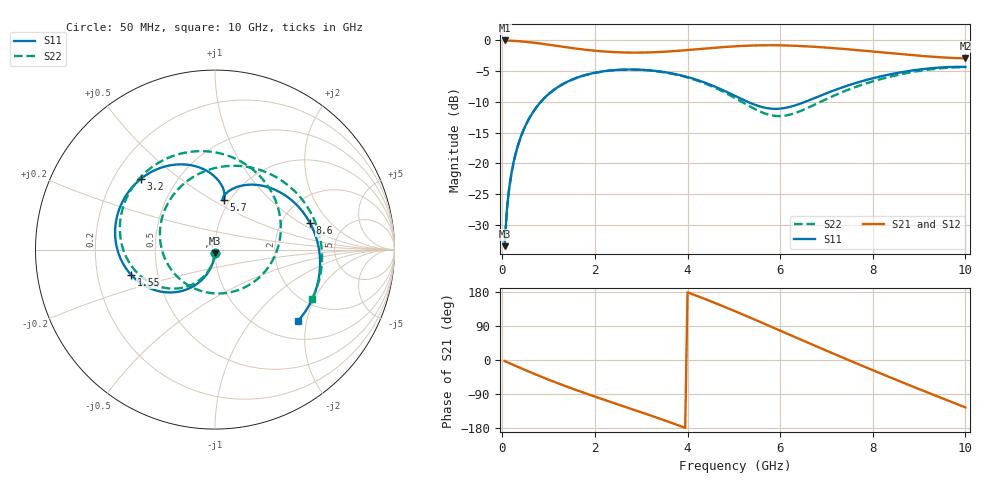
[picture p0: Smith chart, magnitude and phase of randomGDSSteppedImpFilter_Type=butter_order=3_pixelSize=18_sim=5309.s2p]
! freq	dB(S11)	phase(S11)	dB(S12)	phase(S12)
!  dB(S21)	phase(S21)	dB(S22)	phase(S22)
!S-par simulation data
#  GHz  S  DB  R 50
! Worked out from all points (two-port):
!   200 points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, 50 MHz to 10 GHz, reference 50 ohm
!   highest |S21| = 0.00 dB at 50 MHz (marker M1); lowest = -2.9 dB at 10 GHz (marker M2)
!   |S21| within 3 dB of the highest: start of sweep to end of sweep
!   lowest |S11| = -33.5 dB at 50 MHz (marker M3), VSWR 1.04, Z = 49.9 - j2.12 ohm
!   |S11| at or under -10 dB: start of sweep to 830.9 MHz; 5.303 GHz to 6.534 GHz (1.231 GHz wide, 20.8 % of centre)
!   |S22| runs from -33.5 to -4.3 dB; largest |S21 - S12| = 0
!   S11 on the Smith chart (normalised r, x): 50 MHz: 1.00, -0.04; 1.55 GHz: 0.35, -0.13; 3.2 GHz: 0.31, +0.37; 5.7 GHz: 0.94, +0.57; 8.6 GHz: 2.88, +1.21; 10 GHz: 1.42, -1.78
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0.05  -33.46 -92.6  -0.00 -2.7  -0.00 -2.7  -33.46 -92.9
0.1  -27.45 -95.4  -0.02 -5.5  -0.02 -5.5  -27.46 -95.9
0.2  -21.50 -100.7  -0.05 -10.8  -0.05 -10.8  -21.50 -101.8
0.45  -14.72 -113.4  -0.19 -24.1  -0.19 -24.1  -14.73 -115.9
1  -8.73 -139.6  -0.69 -51.9  -0.69 -51.9  -8.73 -145.3
1.55  -6.24 -163.2  -1.28 -77.3  -1.28 -77.3  -6.25 -172.5
1.75  -5.72 -171.2  -1.47 -86.0  -1.47 -86.0  -5.73 178.1
2.45  -4.81 162.6  -1.91 -115.3  -1.91 -115.3  -4.83 145.8
3.2  -4.87 136.3  -1.94 -146.3  -1.94 -146.3  -4.91 110.3
3.4  -5.04 129.5  -1.88 -154.8  -1.88 -154.8  -5.08 100.3
3.85  -5.67 114.5  -1.66 -174.6  -1.66 -174.6  -5.73 76.2
4.3  -6.66 100.5  -1.38 164.7  -1.38 164.7  -6.77 49.4
5.05  -9.11 83.1  -0.95 127.5  -0.95 127.5  -9.48 -5.7
5.7  -10.99 80.0  -0.79 93.5  -0.79 93.5  -11.95 -70.6
6.15  -10.92 81.5  -0.83 69.6  -0.83 69.6  -12.17 -122.7
6.7  -9.51 76.7  -1.02 40.4  -1.02 40.4  -10.60 -179.2
7.1  -8.30 67.7  -1.22 19.4  -1.22 19.4  -9.19 147.1
7.5  -7.24 55.7  -1.47 -1.3  -1.47 -1.3  -7.93 117.7
8.35  -5.55 25.2  -2.05 -44.6  -2.05 -44.6  -5.94 63.3
8.6  -5.19 15.5  -2.22 -57.1  -2.22 -57.1  -5.51 48.7
9.35  -4.46 -14.2  -2.69 -93.8  -2.69 -93.8  -4.61 7.3
10  -4.30 -40.5  -2.92 -125.2  -2.92 -125.2  -4.35 -26.7
